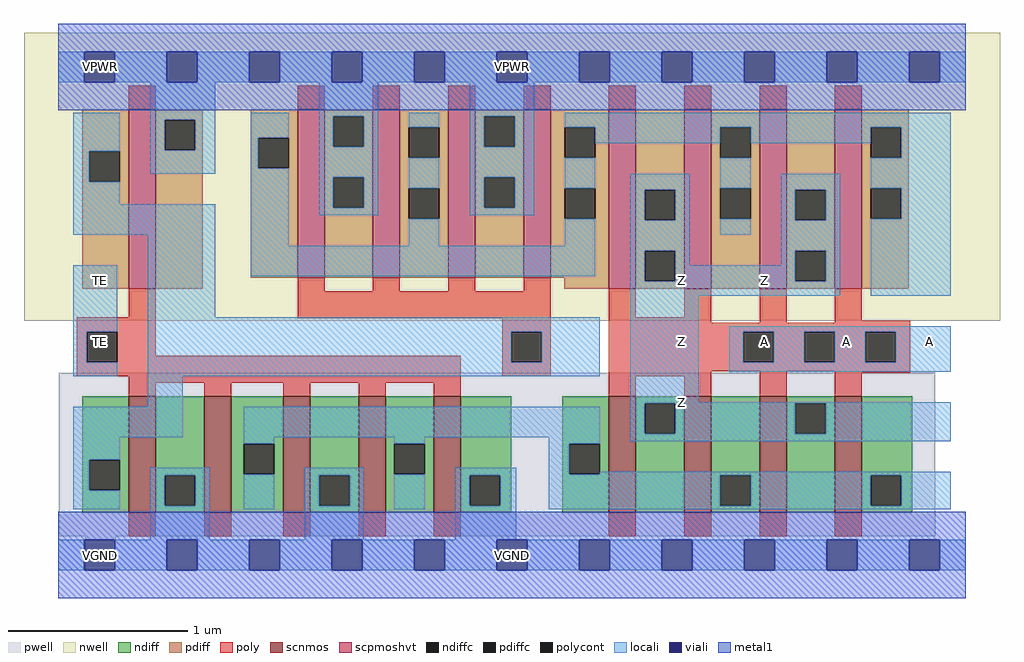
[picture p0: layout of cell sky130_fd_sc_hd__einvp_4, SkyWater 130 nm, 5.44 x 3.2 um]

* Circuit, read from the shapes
.subckt sky130_fd_sc_hd__einvp_4 A TE VGND VNB VPB VPWR Z
XM1 VGND TE n1 VNB sky130_fd_pr__nfet_01v8 w=0.65 l=0.15
XM2 n2 TE VGND VNB sky130_fd_pr__nfet_01v8 w=0.65 l=0.15 m=4
XM3 Z A n2 VNB sky130_fd_pr__nfet_01v8 w=0.65 l=0.15 m=4
XM4 VPWR TE n1 VPB sky130_fd_pr__pfet_01v8_hvt w=1 l=0.15
XM5 VPWR n1 n3 VPB sky130_fd_pr__pfet_01v8_hvt w=0.94 l=0.15 m=4
XM6 Z A n3 VPB sky130_fd_pr__pfet_01v8_hvt w=1 l=0.15 m=4
.ends

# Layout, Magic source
magic
tech sky130B
magscale 1 2
<< nwell >>
rect -38 261 1050 582
<< pwell >>
rect 1 21 978 203
rect 30 -17 64 21
<< scnmos >>
rect 79 47 109 177
rect 163 47 193 177
rect 251 47 281 177
rect 335 47 365 177
rect 419 47 449 177
rect 614 47 644 177
rect 698 47 728 177
rect 782 47 812 177
rect 866 47 896 177
<< scpmoshvt >>
rect 79 297 109 497
rect 267 309 297 497
rect 351 309 381 497
rect 435 309 465 497
rect 519 309 549 497
rect 614 297 644 497
rect 698 297 728 497
rect 782 297 812 497
rect 866 297 896 497
<< ndiff >>
rect 27 106 79 177
rect 27 72 35 106
rect 69 72 79 106
rect 27 47 79 72
rect 109 89 163 177
rect 109 55 119 89
rect 153 55 163 89
rect 109 47 163 55
rect 193 124 251 177
rect 193 90 207 124
rect 241 90 251 124
rect 193 47 251 90
rect 281 89 335 177
rect 281 55 291 89
rect 325 55 335 89
rect 281 47 335 55
rect 365 124 419 177
rect 365 90 375 124
rect 409 90 419 124
rect 365 47 419 90
rect 449 89 505 177
rect 449 55 459 89
rect 493 55 505 89
rect 449 47 505 55
rect 562 124 614 177
rect 562 90 570 124
rect 604 90 614 124
rect 562 47 614 90
rect 644 169 698 177
rect 644 135 654 169
rect 688 135 698 169
rect 644 47 698 135
rect 728 89 782 177
rect 728 55 738 89
rect 772 55 782 89
rect 728 47 782 55
rect 812 169 866 177
rect 812 135 822 169
rect 856 135 866 169
rect 812 47 866 135
rect 896 89 952 177
rect 896 55 906 89
rect 940 55 952 89
rect 896 47 952 55
<< pdiff >>
rect 27 450 79 497
rect 27 416 35 450
rect 69 416 79 450
rect 27 297 79 416
rect 109 485 161 497
rect 109 451 119 485
rect 153 451 161 485
rect 109 297 161 451
rect 215 465 267 497
rect 215 431 223 465
rect 257 431 267 465
rect 215 309 267 431
rect 297 489 351 497
rect 297 455 307 489
rect 341 455 351 489
rect 297 421 351 455
rect 297 387 307 421
rect 341 387 351 421
rect 297 309 351 387
rect 381 477 435 497
rect 381 443 391 477
rect 425 443 435 477
rect 381 409 435 443
rect 381 375 391 409
rect 425 375 435 409
rect 381 309 435 375
rect 465 489 519 497
rect 465 455 475 489
rect 509 455 519 489
rect 465 421 519 455
rect 465 387 475 421
rect 509 387 519 421
rect 465 309 519 387
rect 549 477 614 497
rect 549 443 565 477
rect 599 443 614 477
rect 549 409 614 443
rect 549 375 565 409
rect 599 375 614 409
rect 549 309 614 375
rect 564 297 614 309
rect 644 407 698 497
rect 644 373 654 407
rect 688 373 698 407
rect 644 339 698 373
rect 644 305 654 339
rect 688 305 698 339
rect 644 297 698 305
rect 728 477 782 497
rect 728 443 738 477
rect 772 443 782 477
rect 728 409 782 443
rect 728 375 738 409
rect 772 375 782 409
rect 728 297 782 375
rect 812 407 866 497
rect 812 373 822 407
rect 856 373 866 407
rect 812 339 866 373
rect 812 305 822 339
rect 856 305 866 339
rect 812 297 866 305
rect 896 477 948 497
rect 896 443 906 477
rect 940 443 948 477
rect 896 409 948 443
rect 896 375 906 409
rect 940 375 948 409
rect 896 297 948 375
<< ndiffc >>
rect 35 72 69 106
rect 119 55 153 89
rect 207 90 241 124
rect 291 55 325 89
rect 375 90 409 124
rect 459 55 493 89
rect 570 90 604 124
rect 654 135 688 169
rect 738 55 772 89
rect 822 135 856 169
rect 906 55 940 89
<< pdiffc >>
rect 35 416 69 450
rect 119 451 153 485
rect 223 431 257 465
rect 307 455 341 489
rect 307 387 341 421
rect 391 443 425 477
rect 391 375 425 409
rect 475 455 509 489
rect 475 387 509 421
rect 565 443 599 477
rect 565 375 599 409
rect 654 373 688 407
rect 654 305 688 339
rect 738 443 772 477
rect 738 375 772 409
rect 822 373 856 407
rect 822 305 856 339
rect 906 443 940 477
rect 906 375 940 409
<< poly >>
rect 79 497 109 523
rect 267 497 297 523
rect 351 497 381 523
rect 435 497 465 523
rect 519 497 549 523
rect 614 497 644 523
rect 698 497 728 523
rect 782 497 812 523
rect 866 497 896 523
rect 79 265 109 297
rect 21 249 109 265
rect 267 294 297 309
rect 351 294 381 309
rect 435 294 465 309
rect 519 294 549 309
rect 267 264 549 294
rect 21 215 32 249
rect 66 222 109 249
rect 495 249 549 264
rect 66 215 449 222
rect 21 199 449 215
rect 495 215 505 249
rect 539 215 549 249
rect 495 199 549 215
rect 614 265 644 297
rect 698 265 728 297
rect 614 259 728 265
rect 782 259 812 297
rect 866 261 896 297
rect 866 259 950 261
rect 614 249 950 259
rect 614 215 764 249
rect 798 215 832 249
rect 866 215 900 249
rect 934 215 950 249
rect 614 205 950 215
rect 614 199 728 205
rect 79 192 449 199
rect 79 177 109 192
rect 163 177 193 192
rect 251 177 281 192
rect 335 177 365 192
rect 419 177 449 192
rect 614 177 644 199
rect 698 177 728 199
rect 782 177 812 205
rect 866 203 950 205
rect 866 177 896 203
rect 79 21 109 47
rect 163 21 193 47
rect 251 21 281 47
rect 335 21 365 47
rect 419 21 449 47
rect 614 21 644 47
rect 698 21 728 47
rect 782 21 812 47
rect 866 21 896 47
<< polycont >>
rect 32 215 66 249
rect 505 215 539 249
rect 764 215 798 249
rect 832 215 866 249
rect 900 215 934 249
<< locali >>
rect 0 527 29 561
rect 63 527 121 561
rect 155 527 213 561
rect 247 527 305 561
rect 339 527 397 561
rect 431 527 489 561
rect 523 527 581 561
rect 615 527 673 561
rect 707 527 765 561
rect 799 527 857 561
rect 891 527 949 561
rect 983 527 1012 561
rect 17 450 69 493
rect 17 416 35 450
rect 103 485 175 527
rect 103 451 119 485
rect 153 451 175 485
rect 103 425 175 451
rect 215 465 257 493
rect 215 431 223 465
rect 17 391 69 416
rect 17 357 175 391
rect 17 249 66 323
rect 17 215 32 249
rect 17 199 66 215
rect 100 265 175 357
rect 215 345 257 431
rect 291 489 357 527
rect 291 455 307 489
rect 341 455 357 489
rect 291 421 357 455
rect 291 387 307 421
rect 341 387 357 421
rect 291 379 357 387
rect 391 477 425 493
rect 391 409 425 443
rect 459 489 531 527
rect 459 455 475 489
rect 509 455 531 489
rect 459 421 531 455
rect 459 387 475 421
rect 509 387 531 421
rect 459 379 531 387
rect 565 477 995 493
rect 599 459 738 477
rect 565 409 599 443
rect 772 459 906 477
rect 391 345 425 375
rect 565 345 599 375
rect 215 311 599 345
rect 638 407 704 425
rect 638 373 654 407
rect 688 373 704 407
rect 638 339 704 373
rect 738 409 772 443
rect 940 443 995 477
rect 738 357 772 375
rect 806 407 872 425
rect 806 373 822 407
rect 856 373 872 407
rect 638 305 654 339
rect 688 323 704 339
rect 806 339 872 373
rect 806 323 822 339
rect 688 305 822 323
rect 856 305 872 339
rect 638 289 872 305
rect 906 409 995 443
rect 940 375 995 409
rect 906 289 995 375
rect 100 249 604 265
rect 100 215 505 249
rect 539 215 604 249
rect 100 199 604 215
rect 100 165 139 199
rect 638 170 714 289
rect 748 249 995 255
rect 748 215 764 249
rect 798 215 832 249
rect 866 215 900 249
rect 934 215 995 249
rect 748 204 995 215
rect 638 169 995 170
rect 17 131 139 165
rect 207 131 604 165
rect 17 106 69 131
rect 17 72 35 106
rect 207 124 241 131
rect 17 51 69 72
rect 103 89 169 97
rect 103 55 119 89
rect 153 55 169 89
rect 103 17 169 55
rect 375 124 409 131
rect 207 51 241 90
rect 275 89 341 97
rect 275 55 291 89
rect 325 55 341 89
rect 275 17 341 55
rect 547 124 604 131
rect 638 135 654 169
rect 688 135 822 169
rect 856 135 995 169
rect 638 127 995 135
rect 375 51 409 90
rect 443 89 511 97
rect 443 55 459 89
rect 493 55 511 89
rect 443 17 511 55
rect 547 90 570 124
rect 604 90 995 93
rect 547 89 995 90
rect 547 55 738 89
rect 772 55 906 89
rect 940 55 995 89
rect 547 51 995 55
rect 0 -17 29 17
rect 63 -17 121 17
rect 155 -17 213 17
rect 247 -17 305 17
rect 339 -17 397 17
rect 431 -17 489 17
rect 523 -17 581 17
rect 615 -17 673 17
rect 707 -17 765 17
rect 799 -17 857 17
rect 891 -17 949 17
rect 983 -17 1012 17
<< viali >>
rect 29 527 63 561
rect 121 527 155 561
rect 213 527 247 561
rect 305 527 339 561
rect 397 527 431 561
rect 489 527 523 561
rect 581 527 615 561
rect 673 527 707 561
rect 765 527 799 561
rect 857 527 891 561
rect 949 527 983 561
rect 29 -17 63 17
rect 121 -17 155 17
rect 213 -17 247 17
rect 305 -17 339 17
rect 397 -17 431 17
rect 489 -17 523 17
rect 581 -17 615 17
rect 673 -17 707 17
rect 765 -17 799 17
rect 857 -17 891 17
rect 949 -17 983 17
<< metal1 >>
rect 0 561 1012 592
rect 0 527 29 561
rect 63 527 121 561
rect 155 527 213 561
rect 247 527 305 561
rect 339 527 397 561
rect 431 527 489 561
rect 523 527 581 561
rect 615 527 673 561
rect 707 527 765 561
rect 799 527 857 561
rect 891 527 949 561
rect 983 527 1012 561
rect 0 496 1012 527
rect 0 17 1012 48
rect 0 -17 29 17
rect 63 -17 121 17
rect 155 -17 213 17
rect 247 -17 305 17
rect 339 -17 397 17
rect 431 -17 489 17
rect 523 -17 581 17
rect 615 -17 673 17
rect 707 -17 765 17
rect 799 -17 857 17
rect 891 -17 949 17
rect 983 -17 1012 17
rect 0 -48 1012 -17
<< labels >>
flabel locali s 30 289 64 323 0 FreeSans 200 0 0 0 TE
port 2 nsew signal input
flabel locali s 30 221 64 255 0 FreeSans 200 0 0 0 TE
port 2 nsew signal input
flabel locali s 954 221 988 255 0 FreeSans 200 0 0 0 A
port 1 nsew signal input
flabel locali s 862 221 896 255 0 FreeSans 200 0 0 0 A
port 1 nsew signal input
flabel locali s 770 221 804 255 0 FreeSans 200 0 0 0 A
port 1 nsew signal input
flabel locali s 770 289 804 323 0 FreeSans 200 0 0 0 Z
port 7 nsew signal output
flabel locali s 678 289 712 323 0 FreeSans 200 0 0 0 Z
port 7 nsew signal output
flabel locali s 678 153 712 187 0 FreeSans 200 0 0 0 Z
port 7 nsew signal output
flabel locali s 678 221 712 255 0 FreeSans 200 0 0 0 Z
port 7 nsew signal output
flabel metal1 s 30 527 64 561 0 FreeSans 200 0 0 0 VPWR
port 6 nsew power bidirectional abutment
flabel metal1 s 30 -17 64 17 0 FreeSans 200 0 0 0 VGND
port 3 nsew ground bidirectional abutment
flabel nwell s 30 527 64 561 0 FreeSans 200 0 0 0 VPB
port 5 nsew power bidirectional
flabel pwell s 30 -17 64 17 0 FreeSans 200 0 0 0 VNB
port 4 nsew ground bidirectional
rlabel comment s 0 0 0 0 4 einvp_4
rlabel metal1 s 0 -48 1012 48 1 VGND
port 3 nsew ground bidirectional abutment
rlabel metal1 s 0 496 1012 592 1 VPWR
port 6 nsew power bidirectional abutment
<< properties >>
string FIXED_BBOX 0 0 1012 544
string GDS_END 2038900
string GDS_FILE $PDKPATH/libs.ref/sky130_fd_sc_hd/gds/sky130_fd_sc_hd.gds
string GDS_START 2030936
string LEFclass CORE
string LEFsite unithd
string LEFsymmetry X Y R90
string path 0.000 13.600 25.300 13.600 
<< end >>
